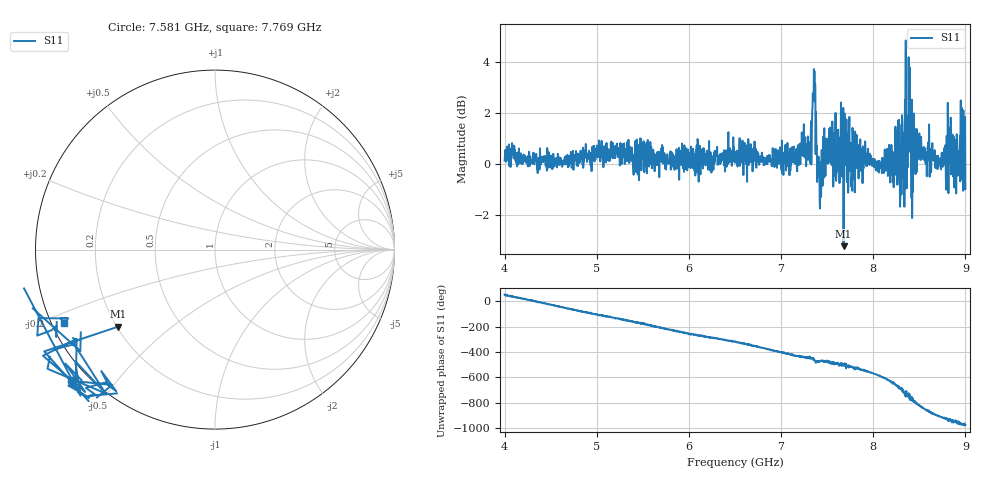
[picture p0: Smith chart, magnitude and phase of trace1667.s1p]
! Created with skrf 1.8.0 (http://scikit-rf.org).
# Hz S RI R 50.0
!freq ReS11 ImS11
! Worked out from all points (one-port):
!   1601 points, 4 GHz to 9 GHz, reference 50 ohm
!   lowest |S11| = -3.2 dB at 7.678 GHz (marker M1), VSWR 5.45, Z = 10.3 - j16.8 ohm
!   |S11| at or under -10 dB: nowhere
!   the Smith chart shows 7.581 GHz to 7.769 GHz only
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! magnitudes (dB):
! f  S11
! 4 GHz  0.1
! 4.625 GHz  -0.1
! 5.25 GHz  -0.1
! 5.875 GHz  0.1
! 6.5 GHz  0.0
! 7.125 GHz  0.4
! 7.294 GHz  0.2
! 7.316 GHz  0.6
! 7.356 GHz  3.7
! 7.412 GHz  0.0
! 7.509 GHz  0.1
! 7.591 GHz  2.0
! 7.65 GHz  2.4
! 7.678 GHz  -3.2
! 7.75 GHz  -0.2
! 7.828 GHz  0.4
! 8.209 GHz  0.3
! 8.259 GHz  1.3
! 8.312 GHz  1.9
! 8.334 GHz  1.2
! 8.347 GHz  1.8
! 8.375 GHz  1.9
! 8.441 GHz  2.0
! 8.459 GHz  -0.4
! 8.712 GHz  0.2
! 8.953 GHz  -0.6
! 8.972 GHz  0.6
! 9 GHz  -1.0
